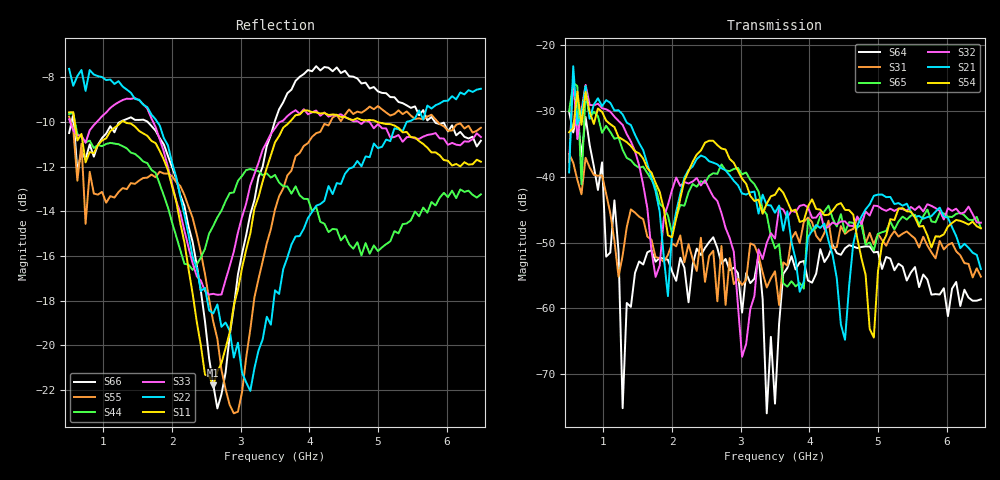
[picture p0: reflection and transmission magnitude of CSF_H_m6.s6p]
!Keysight Technologies,M9804A,MY58100912,A.14.10.03
!Date: Thursday, April 27, 2023 10:28:33
!Correction: S11(C  6-Port  )
!S12(C  6-Port  )
!S13(C  6-Port  )
!S14(C  6-Port  )
!S15(C  6-Port  )
!S16(C  6-Port  )
!S21(C  6-Port  )
!S22(C  6-Port  )
!S23(C  6-Port  )
!S24(C  6-Port  )
!S25(C  6-Port  )
!S26(C  6-Port  )
!S31(C  6-Port  )
!S32(C  6-Port  )
!S33(C  6-Port  )
!S34(C  6-Port  )
!S35(C  6-Port  )
!S36(C  6-Port  )
!S41(C  6-Port  )
!S42(C  6-Port  )
!S43(C  6-Port  )
!S44(C  6-Port  )
!S45(C  6-Port  )
!S46(C  6-Port  )
!S51(C  6-Port  )
!S52(C  6-Port  )
!S53(C  6-Port  )
!S54(C  6-Port  )
!S55(C  6-Port  )
!S56(C  6-Port  )
!S61(C  6-Port  )
!S62(C  6-Port  )
!S63(C  6-Port  )
!S64(C  6-Port  )
!S65(C  6-Port  )
!S66(C  6-Port  )
!S6P File: Measurement: :
# Hz S  RI  R 50
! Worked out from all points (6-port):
!   101 points, 500 MHz to 6.5 GHz, reference 50 ohm
!   strongest paths, dB at 500 MHz, 2 GHz, 3.5 GHz, 5 GHz, 6.5 GHz:
!     S54: -33.2, -49.2, -42.7, -54.4, -47.8
!     S21: -39.3, -48.5, -45.5, -42.7, -54.0
!     S32: -37.8, -42.0, -49.4, -44.4, -47.0
!     S65: -30.0, -48.6, -50.9, -48.7, -47.8
!     S31: -36.5, -50.1, -54.4, -48.7, -55.2
!     S64: -30.1, -54.4, -74.5, -51.4, -58.6
!   lowest |S11| = -21.8 dB at 2.6 GHz (marker M1), VSWR 1.18, Z = 42.7 + j1.91 ohm
!   |S11| at or under -10 dB: 580.8 MHz to 1.263 GHz (682.4 MHz wide, 74 % of centre); 1.31 GHz to 3.713 GHz (2.404 GHz wide, 95.7 % of centre); 4.988 GHz to end of sweep
